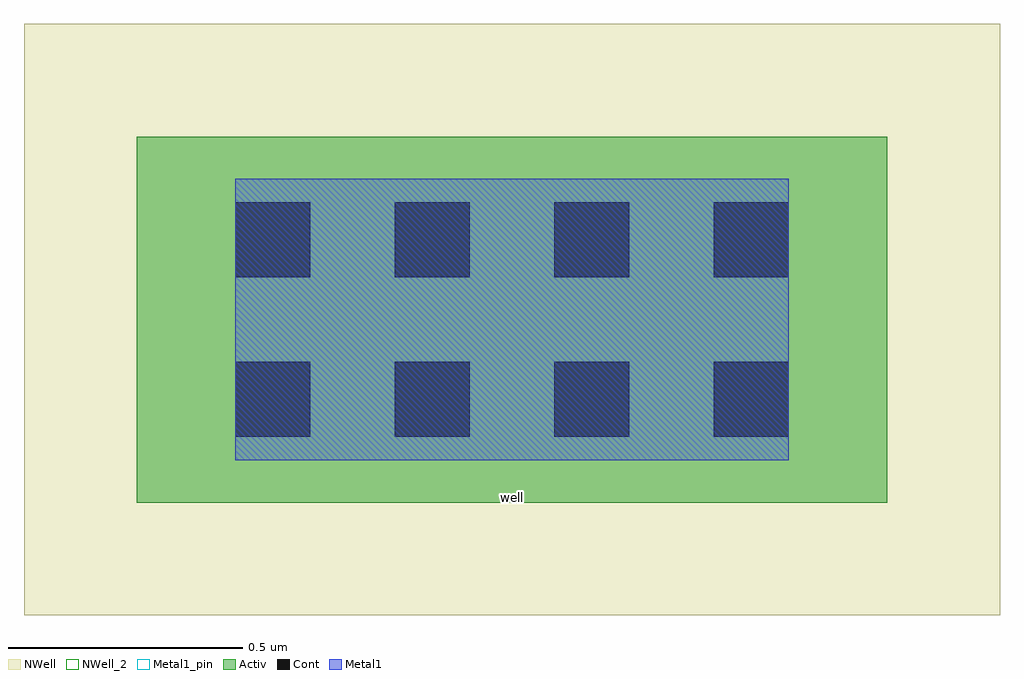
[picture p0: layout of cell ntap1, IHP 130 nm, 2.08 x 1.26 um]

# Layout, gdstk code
import gdstk
lib = gdstk.Library(unit=1e-6, precision=1e-09)
def R(c, l, rs):  # rectangles x0, y0, x1, y1
    for r in rs: c.add(gdstk.rectangle(r[:2], r[2:], *l))
def A(c, l, x, y, w, h, nx, ny, dx, dy):  # array of equal rectangles
    R(c, l, [(x+i*dx, y+j*dy, x+i*dx+w, y+j*dy+h) for i in range(nx) for j in range(ny)])
Activ = (1, 0)
Cont = (6, 0)
Metal1 = (8, 0)
Metal1_pin = (8, 2)
NWell = (31, 0)
NWell_2 = (31, 2)

ntap1 = lib.new_cell('ntap1')
R(ntap1, Activ, [(0,0,1.6,0.78)])
A(ntap1, Cont, 0.21, 0.14, 0.16, 0.16, 4, 2, 0.34, 0.34)
R(ntap1, Metal1, [(0.21,0.09,1.39,0.69)])
R(ntap1, Metal1_pin, [(0.21,0.09,1.39,0.69), (0.21,0.14,1.39,0.64)])
R(ntap1, NWell, [(-0.24,-0.24,1.84,1.02), (0,0,1.6,0.78)])
R(ntap1, NWell_2, [(0,0,1.6,0.78)])
ntap1.add(gdstk.Label('well', (0.8,0.01), layer=63, texttype=0))
ntap1.add(gdstk.Label('well', (0.8,0.01), layer=31, texttype=0))

lib.write_gds('ntap1.gds')
